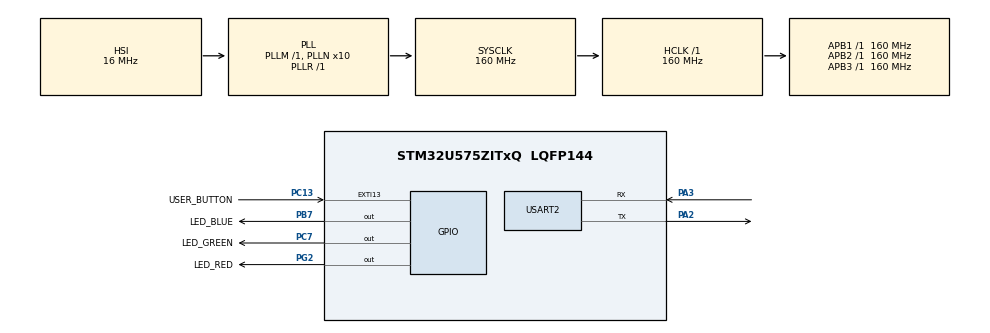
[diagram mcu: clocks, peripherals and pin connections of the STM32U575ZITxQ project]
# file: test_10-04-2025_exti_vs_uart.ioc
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CORTEX_M33_NS.userName=CORTEX_M33
Mcu.Family=STM32U5
Mcu.Name=STM32U575ZITxQ
Mcu.Package=LQFP144
NVIC.EXTI13_IRQn=true\:0\:0\:false\:false\:true\:true\:true\:true
NVIC.PriorityGroup=NVIC_PRIORITYGROUP_3
NVIC.USART2_IRQn=true\:0\:0\:false\:false\:true\:true\:true\:true
PA10.Signal=USART1_RX
PA13\ (JTMS/SWDIO).Signal=DEBUG_JTMS-SWDIO
PA14\ (JTCK/SWCLK).Signal=DEBUG_JTCK-SWCLK
PA2.GPIO_Speed=GPIO_SPEED_FREQ_HIGH
PA2.Mode=Asynchronous
PA2.Signal=USART2_TX
PA3.GPIO_Speed=GPIO_SPEED_FREQ_HIGH
PA3.Mode=Asynchronous
PA3.Signal=USART2_RX
PA9.Signal=USART1_TX
PB3\ (JTDO/TRACESWO).Signal=DEBUG_JTDO-SWO
PB7.GPIO_Label=LED_BLUE
PB7.GPIO_Speed=GPIO_SPEED_FREQ_HIGH
PB7.Signal=GPIO_Output
PC13.GPIO_Label=USER_BUTTON
PC13.GPIO_ModeDefaultEXTI=GPIO_MODE_IT_FALLING
PC13.GPIO_PuPd=GPIO_PULLUP
PC13.Signal=GPXTI13
PC14-OSC32_IN\ (PC14).Signal=RCC_OSC32_IN
PC15-OSC32_OUT\ (PC15).Signal=RCC_OSC32_OUT
PC7.GPIO_Label=LED_GREEN
PC7.GPIO_Speed=GPIO_SPEED_FREQ_HIGH
PC7.Signal=GPIO_Output
PG2.GPIO_Label=LED_RED
PG2.GPIO_Speed=GPIO_SPEED_FREQ_HIGH
PG2.Signal=GPIO_Output
PWR.PowerMode=PWR_SMPS_SUPPLY
ProjectManager.HeapSize=0x200
ProjectManager.StackSize=0x400
ProjectManager.TargetToolchain=CMake
RCC.ADCFreq_Value=16000000
RCC.AHBFreq_Value=160000000
RCC.APB1Freq_Value=160000000
RCC.APB1TimFreq_Value=160000000
RCC.APB2Freq_Value=160000000
RCC.APB2TimFreq_Value=160000000
RCC.APB3Freq_Value=160000000
RCC.CortexFreq_Value=160000000
RCC.DACCLockSelectionVirtual=RCC_DAC1CLKSOURCE_LSI
RCC.EPOD_VALUE=16000000
RCC.HCLKFreq_Value=160000000
RCC.HSE_VALUE=16000000
RCC.HSI48_VALUE=48000000
RCC.HSI_VALUE=16000000
RCC.LSE_VALUE=32768
RCC.LSIDIV_VALUE=32000
RCC.MSI_VALUE=4000000
RCC.PLL1R=1
RCC.PLLFRACN=0
RCC.PLLN=10
RCC.PLLSourceVirtual=RCC_PLLSOURCE_HSI
RCC.SYSCLKFreq_VALUE=160000000
RCC.SYSCLKSource=RCC_SYSCLKSOURCE_PLLCLK
RCC.USBFreq_Value=48000000
RCC.VCOOutputFreq_Value=160000000
USART2.VirtualMode-Asynchronous=VM_ASYNC
VP_ICACHE_VS_ENABLE_ICACHE_MEMORY.Mode=Memoryregions
VP_ICACHE_VS_ICACHE.Mode=DirectMappedCache
VP_LPBAMQUEUE_VS_QUEUE.Mode=QUEUEMODE
VP_LPBAM_VS_SIG1.Mode=SmartRun
VP_LPBAM_VS_SIG4.Mode=LPDMA1
VP_MEMORYMAP_VS_MEMORYMAP.Mode=CurAppReg
VP_PWR_VS_DBSignals.Mode=DisableDeadBatterySignals
VP_PWR_VS_LPOM.Mode=PowerOptimisation
VP_PWR_VS_SECSignals.Mode=Security/Privilege
board=NUCLEO-U575ZI-Q

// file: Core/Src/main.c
/* USER CODE BEGIN Header */
/**
  ******************************************************************************
  * @file           : main.c
  * @brief          : Main program body
  ******************************************************************************
  * @attention
  *
  * Copyright (c) 2025 STMicroelectronics.
  * All rights reserved.
  *
  * This software is licensed under terms that can be found in the LICENSE file
  * in the root directory of this software component.
  * If no LICENSE file comes with this software, it is provided AS-IS.
  *
  ******************************************************************************
  */
/* USER CODE END Header */
#include "main.h"

/* USER CODE BEGIN PTD */

GPIO_InitTypeDef Init_BLUE_LED;
GPIO_InitTypeDef Init_RED_LED;
GPIO_InitTypeDef Init_GREEN_LED;
GPIO_InitTypeDef EXTI_Button;
// GPIO_InitTypeDef Init_Button; - new Button is not GPIO_Input, but EXTI

/* USER CODE END PTD */

/* USER CODE BEGIN PV */
UART_HandleTypeDef huart2;

// added for uart test
uint8_t tx_buffer[22]="Welcome to MyWorld! \n\r";
uint8_t rx_indx;
uint8_t rx_data[2];
uint8_t rx_buffer[100];
uint8_t transfer_cplt;
/* USER CODE END PV */

void SystemClock_Config(void);
static void SystemPower_Config(void);
static void MX_GPIO_Init(void);
static void MX_ICACHE_Init(void);
static void MX_USART2_UART_Init(void);
static void EXTI13_IRQHandler_Config(void);

int main(void)
{

  /* MCU Configuration--------------------------------------------------------*/

  /* Reset of all peripherals, Initializes the Flash interface and the Systick. */
  HAL_Init();

  /* Configure the System Power */
  SystemPower_Config();

  /* Configure the system clock */
  SystemClock_Config();

  /* Initialize all configured peripherals */
  MX_GPIO_Init();
  MX_ICACHE_Init();
  MX_USART2_UART_Init();
  EXTI13_IRQHandler_Config();

  /* USER CODE BEGIN 2 */

  // added for uart test
  HAL_UART_Receive_IT(&huart2, rx_data, 1);

  /* USER CODE END 2 */

  /* Infinite loop */
  while (1)
  {

    /* USER CODE BEGIN 3 */

    //code for GPIO_Input LEDS - if this runs, then on holding the button, the LEDs are on and on release they turn off
/*     if(HAL_GPIO_ReadPin(USER_BUTTON_GPIO_Port, USER_BUTTON_Pin)) {
      HAL_GPIO_WritePin(LED_BLUE_GPIO_Port, LED_BLUE_Pin, GPIO_PIN_SET);
      HAL_GPIO_WritePin(LED_RED_GPIO_Port, LED_RED_Pin, GPIO_PIN_SET);
      HAL_GPIO_WritePin(LED_GREEN_GPIO_Port, LED_GREEN_Pin, GPIO_PIN_SET);
    } else {
      HAL_GPIO_WritePin(LED_BLUE_GPIO_Port, LED_BLUE_Pin, GPIO_PIN_RESET);
      HAL_GPIO_WritePin(LED_RED_GPIO_Port, LED_RED_Pin, GPIO_PIN_RESET);
      HAL_GPIO_WritePin(LED_GREEN_GPIO_Port, LED_GREEN_Pin, GPIO_PIN_RESET);
    }
    HAL_Delay(5000);
  } */
  /* USER CODE END 3 */
}

void SystemClock_Config(void)
{
  RCC_OscInitTypeDef RCC_OscInitStruct = {0};
  RCC_ClkInitTypeDef RCC_ClkInitStruct = {0};

  /** Configure the main internal regulator output voltage
  */
  if (HAL_PWREx_ControlVoltageScaling(PWR_REGULATOR_VOLTAGE_SCALE1) != HAL_OK)
  {
    Error_Handler();
  }

  /** Initializes the CPU, AHB and APB buses clocks
  */
  RCC_OscInitStruct.OscillatorType = RCC_OSCILLATORTYPE_HSI;
  RCC_OscInitStruct.HSIState = RCC_HSI_ON;
  RCC_OscInitStruct.HSICalibrationValue = RCC_HSICALIBRATION_DEFAULT;
  RCC_OscInitStruct.PLL.PLLState = RCC_PLL_ON;
  RCC_OscInitStruct.PLL.PLLSource = RCC_PLLSOURCE_HSI;
  RCC_OscInitStruct.PLL.PLLMBOOST = RCC_PLLMBOOST_DIV1;
  RCC_OscInitStruct.PLL.PLLM = 1;
  RCC_OscInitStruct.PLL.PLLN = 10;
  RCC_OscInitStruct.PLL.PLLP = 2;
  RCC_OscInitStruct.PLL.PLLQ = 2;
  RCC_OscInitStruct.PLL.PLLR = 1;
  RCC_OscInitStruct.PLL.PLLRGE = RCC_PLLVCIRANGE_1;
  RCC_OscInitStruct.PLL.PLLFRACN = 0;
  if (HAL_RCC_OscConfig(&RCC_OscInitStruct) != HAL_OK)
  {
    Error_Handler();
  }

  /** Initializes the CPU, AHB and APB buses clocks
  */
  RCC_ClkInitStruct.ClockType = RCC_CLOCKTYPE_HCLK|RCC_CLOCKTYPE_SYSCLK
                              |RCC_CLOCKTYPE_PCLK1|RCC_CLOCKTYPE_PCLK2
                              |RCC_CLOCKTYPE_PCLK3;
  RCC_ClkInitStruct.SYSCLKSource = RCC_SYSCLKSOURCE_PLLCLK;
  RCC_ClkInitStruct.AHBCLKDivider = RCC_SYSCLK_DIV1;
  RCC_ClkInitStruct.APB1CLKDivider = RCC_HCLK_DIV1;
  RCC_ClkInitStruct.APB2CLKDivider = RCC_HCLK_DIV1;
  RCC_ClkInitStruct.APB3CLKDivider = RCC_HCLK_DIV1;

  if (HAL_RCC_ClockConfig(&RCC_ClkInitStruct, FLASH_LATENCY_4) != HAL_OK)
  {
    Error_Handler();
  }
}

/**
  * @brief Power Configuration
  * @retval None
  */
static void SystemPower_Config(void)
{
  HAL_PWREx_EnableVddIO2();

  /*
   * Disable the internal Pull-Up in Dead Battery pins of UCPD peripheral
   */
  HAL_PWREx_DisableUCPDDeadBattery();

  /*
   * Switch to SMPS regulator instead of LDO
   */
  if (HAL_PWREx_ConfigSupply(PWR_SMPS_SUPPLY) != HAL_OK)
  {
    Error_Handler();
  }
}

static void MX_ICACHE_Init(void)
{

  /** Enable instruction cache in 1-way (direct mapped cache)
  */
  if (HAL_ICACHE_ConfigAssociativityMode(ICACHE_1WAY) != HAL_OK)
  {
    Error_Handler();
  }
  if (HAL_ICACHE_Enable() != HAL_OK)
  {
    Error_Handler();
  }

}

static void MX_USART2_UART_Init(void)
{

  huart2.Instance = USART2;
  huart2.Init.BaudRate = 115200;
  huart2.Init.WordLength = UART_WORDLENGTH_8B;
  huart2.Init.StopBits = UART_STOPBITS_1;
  huart2.Init.Parity = UART_PARITY_NONE;
  huart2.Init.Mode = UART_MODE_TX_RX;
  huart2.Init.HwFlowCtl = UART_HWCONTROL_NONE;
  huart2.Init.OverSampling = UART_OVERSAMPLING_16;
  huart2.Init.OneBitSampling = UART_ONE_BIT_SAMPLE_DISABLE;
  huart2.Init.ClockPrescaler = UART_PRESCALER_DIV1;
  huart2.AdvancedInit.AdvFeatureInit = UART_ADVFEATURE_NO_INIT;
  if (HAL_UART_Init(&huart2) != HAL_OK)
  {
    Error_Handler();
  }
  if (HAL_UARTEx_SetTxFifoThreshold(&huart2, UART_TXFIFO_THRESHOLD_1_8) != HAL_OK)
  {
    Error_Handler();
  }
  if (HAL_UARTEx_SetRxFifoThreshold(&huart2, UART_RXFIFO_THRESHOLD_1_8) != HAL_OK)
  {
    Error_Handler();
  }
  if (HAL_UARTEx_DisableFifoMode(&huart2) != HAL_OK)
  {
    Error_Handler();
  }

}

static void MX_GPIO_Init(void)
{
  // GPIO_InitTypeDef GPIO_InitStruct = {0}; - not needed, replaced with custom InitTypeDefs

  /* GPIO Ports Clock Enable */
  __HAL_RCC_GPIOC_CLK_ENABLE();
  __HAL_RCC_GPIOA_CLK_ENABLE();
  __HAL_RCC_GPIOG_CLK_ENABLE();
  __HAL_RCC_GPIOB_CLK_ENABLE();

  /*Configure GPIO pin Output Level */
  HAL_GPIO_WritePin(LED_RED_GPIO_Port, LED_RED_Pin, GPIO_PIN_RESET);

  /*Configure GPIO pin Output Level */
  HAL_GPIO_WritePin(LED_GREEN_GPIO_Port, LED_GREEN_Pin, GPIO_PIN_RESET);

  /*Configure GPIO pin Output Level */
  HAL_GPIO_WritePin(LED_BLUE_GPIO_Port, LED_BLUE_Pin, GPIO_PIN_RESET);

  /*Configure GPIO pin : USER_BUTTON_Pin */ // hier konfiguriert, anstatt unten in EXTI13_IRQHandler_Config
  EXTI_Button.Pin = USER_BUTTON_Pin; // geht ON/OFF mit USER_BUTTON_0_Pin|USER_BUTTON_1_Pin ??
  EXTI_Button.Mode = GPIO_MODE_IT_FALLING;
  EXTI_Button.Pull = GPIO_NOPULL; //changed from GPIO_PULLUP to GPIO_NOPULL
  HAL_GPIO_Init(USER_BUTTON_GPIO_Port, &EXTI_Button);

  /*Configure GPIO pin : LED_RED_Pin */
  Init_RED_LED.Pin = LED_RED_Pin;
  Init_RED_LED.Mode = GPIO_MODE_OUTPUT_PP;
  Init_RED_LED.Pull = GPIO_NOPULL;
  Init_RED_LED.Speed = GPIO_SPEED_FREQ_HIGH;
  HAL_GPIO_Init(LED_RED_GPIO_Port, &Init_RED_LED);

  /*Configure GPIO pin : LED_GREEN_Pin */
  Init_GREEN_LED.Pin = LED_GREEN_Pin;
  Init_GREEN_LED.Mode = GPIO_MODE_OUTPUT_PP;
  Init_GREEN_LED.Pull = GPIO_NOPULL;
  Init_GREEN_LED.Speed = GPIO_SPEED_FREQ_HIGH;
  HAL_GPIO_Init(LED_GREEN_GPIO_Port, &Init_GREEN_LED);

  /*Configure GPIO pin : LED_BLUE_Pin */
  Init_BLUE_LED.Pin = LED_BLUE_Pin;
  Init_BLUE_LED.Mode = GPIO_MODE_OUTPUT_PP;
  Init_BLUE_LED.Pull = GPIO_NOPULL;
  Init_BLUE_LED.Speed = GPIO_SPEED_FREQ_LOW;
  HAL_GPIO_Init(LED_BLUE_GPIO_Port, &Init_BLUE_LED);

  /* EXTI interrupt init*/
  HAL_NVIC_SetPriority(EXTI13_IRQn, 0, 0);
  HAL_NVIC_EnableIRQ(EXTI13_IRQn);

}

/* USER CODE BEGIN 4 */
//with all code in this block active, the button turns all 3 LEDs on
//in parallel you can use the putty console to turn on singular LEDs (or all)
//they are not interfering with each other - however, the code within Block 3 (while-loop), dominates both, when active

//2 functions for turning on LEDs once, by first Button Push
static void EXTI13_IRQHandler_Config(void)
{
  /* Enable GPIOC clock */ //hier ausgebelendet . da bereits für die LEDs in MX_GPIO_Init enabled
  //  __HAL_RCC_GPIOC_CLK_ENABLE();

  /* Configure PC.13 pin as input floating */ //hier ausgeblendet, da Button bereits in MX_GPIO_Init konfiguriert
/*   EXTI_Button.Mode = GPIO_MODE_IT_FALLING;
  EXTI_Button.Pull = GPIO_NOPULL;
  EXTI_Button.Pin = USER_BUTTON_Pin;
  HAL_GPIO_Init(GPIOC, &EXTI_Button); */

  /* Enable and set line 13 Interrupt to the lowest priority */
  HAL_NVIC_SetPriority(EXTI13_IRQn, 2, 0);
  HAL_NVIC_EnableIRQ(EXTI13_IRQn);
 }

 // if this code is active, you can push and release the button once to turn on the LEDs, they then stay on
 void HAL_GPIO_EXTI_Falling_Callback(uint16_t GPIO_Pin)
 {
   if (GPIO_Pin == USER_BUTTON_Pin){
    HAL_GPIO_WritePin(LED_BLUE_GPIO_Port, LED_BLUE_Pin, GPIO_PIN_SET);
    HAL_GPIO_WritePin(LED_RED_GPIO_Port, LED_RED_Pin, GPIO_PIN_SET);
    HAL_GPIO_WritePin(LED_GREEN_GPIO_Port, LED_GREEN_Pin, GPIO_PIN_SET);
  }
 }

//1 function for turning on all or singular LEDs via Putty Console
void HAL_UART_RxCpltCallback(UART_HandleTypeDef *huart)
{
  UNUSED(huart);
  // HAL_UART_Transmit(&huart2, rx_data, 6, 10);

  uint8_t i;
    if(huart->Instance == USART2)
    {
      if(rx_indx == 0){
        for(i=0; i<100; i++)
          rx_buffer[i] = 0;
            HAL_GPIO_WritePin(LED_BLUE_GPIO_Port, LED_BLUE_Pin, GPIO_PIN_RESET);
            HAL_GPIO_WritePin(LED_GREEN_GPIO_Port, LED_GREEN_Pin, GPIO_PIN_RESET);
            HAL_GPIO_WritePin(LED_RED_GPIO_Port, LED_RED_Pin, GPIO_PIN_RESET);
      }
      if(rx_data[0] != 13){
        rx_buffer[rx_indx++] = rx_data[0];
      } else {
        rx_indx = 0;
        transfer_cplt = 1;
        HAL_UART_Transmit(&huart2, "\n\r", 2, 100);
        if(!strcmp(rx_buffer, "ALL LED ON"))
        {
          HAL_GPIO_WritePin(LED_BLUE_GPIO_Port, LED_BLUE_Pin, GPIO_PIN_SET);
          HAL_GPIO_WritePin(LED_GREEN_GPIO_Port, LED_GREEN_Pin, GPIO_PIN_SET);
          HAL_GPIO_WritePin(LED_RED_GPIO_Port, LED_RED_Pin, GPIO_PIN_SET);

        } else if (!strcmp(rx_buffer, "BLUE LED ON"))
        {
          HAL_GPIO_WritePin(LED_BLUE_GPIO_Port, LED_BLUE_Pin, GPIO_PIN_SET);

        } else if(!strcmp(rx_buffer, "RED LED ON"))
        {
          HAL_GPIO_WritePin(LED_RED_GPIO_Port, LED_RED_Pin, GPIO_PIN_SET);

        } else if(!strcmp(rx_buffer, "GREEN LED ON"))
        {
          HAL_GPIO_WritePin(LED_GREEN_GPIO_Port, LED_GREEN_Pin, GPIO_PIN_SET);

        }
      }
      HAL_UART_Receive_IT(&huart2, rx_data, 1);
      HAL_UART_Transmit(&huart2, rx_data, strlen(rx_data), 100);
    }
}

/* USER CODE END 4 */

void Error_Handler(void)
{
  __disable_irq();
  while (1)
  {
  }
}
